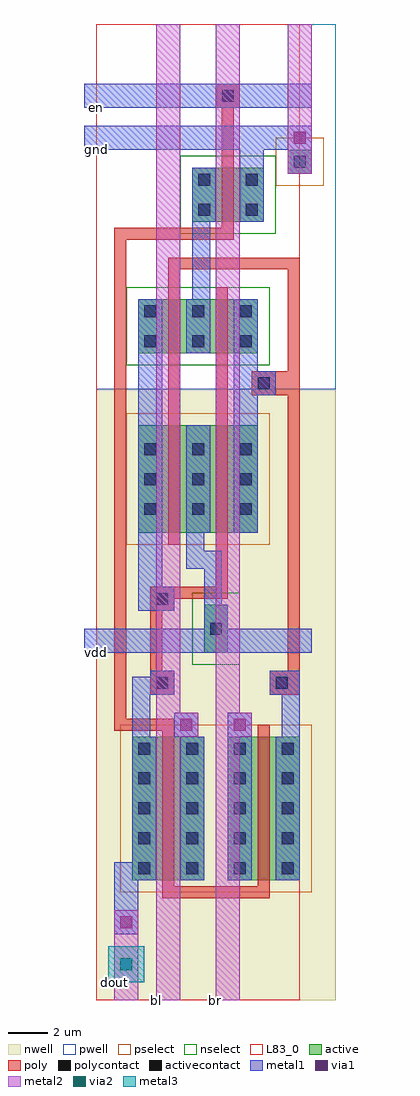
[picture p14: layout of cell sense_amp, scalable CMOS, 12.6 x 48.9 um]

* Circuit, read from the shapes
.subckt sense_amp bl br dout en gnd vdd
M1 n1 n2 dout gnd nfet w=2.7u l=0.6u
M2 n2 dout n1 gnd nfet w=2.7u l=0.6u
M3 gnd en n1 gnd nfet w=2.7u l=0.6u
M4 bl en dout vdd pfet w=7.2u l=0.6u
M5 vdd n2 dout vdd pfet w=5.4u l=0.6u
M6 n2 dout vdd vdd pfet w=5.4u l=0.6u
M7 n2 en br vdd pfet w=7.2u l=0.6u
.ends

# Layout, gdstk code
import gdstk
lib = gdstk.Library(unit=1e-6, precision=1e-09)
def R(c, l, rs):  # rectangles x0, y0, x1, y1
    for r in rs: c.add(gdstk.rectangle(r[:2], r[2:], *l))
def A(c, l, x, y, w, h, nx, ny, dx, dy):  # array of equal rectangles
    R(c, l, [(x+i*dx, y+j*dy, x+i*dx+w, y+j*dy+h) for i in range(nx) for j in range(ny)])
pwell = (41, 0)
nwell = (42, 0)
active = (43, 0)
pselect = (44, 0)
nselect = (45, 0)
poly = (46, 0)
polycontact = (47, 0)
activecontact = (48, 0)
metal1 = (49, 0)
via1 = (50, 0)
metal2 = (51, 0)
via2 = (61, 0)
metal3 = (62, 0)
L83_0 = (83, 0)

sense_amp = lib.new_cell('sense_amp')
R(sense_amp, pwell, [(0,30.6,12,48.9)])
R(sense_amp, nwell, [(0,0,12,30.6)])
R(sense_amp, active, [(1.8,6,5.4,13.2), (6.6,6,10.2,13.2), (5.4,17.4,6.6,19.8), (2.1,23.4,8.1,28.8), (2.1,32.4,8.1,35.1), (4.8,39,8.4,41.7), (9.6,41.4,10.8,42.6)])
R(sense_amp, pselect, [(1.2,5.4,10.8,13.8), (1.5,22.8,8.7,29.4), (9,40.8,11.4,43.2)])
R(sense_amp, nselect, [(4.8,16.8,7.2,20.4), (1.5,31.8,8.7,35.7), (4.2,38.4,9,42.3)])
R(sense_amp, poly, [(3.3,5.1,8.7,5.7), (3.3,5.7,3.9,13.5), (8.1,5.7,8.7,13.8), (0.9,13.5,3.9,14.1), (0.9,14.1,1.5,38.1), (2.7,15.3,3.9,16.5), (8.7,15.3,10.2,16.5), (2.7,16.5,3.3,19.5), (9.6,16.5,10.2,30.3), (2.7,19.5,3.9,20.1), (2.7,20.1,6.6,20.7), (6,20.7,6.6,35.7), (3.6,22.8,4.2,36.6), (7.8,30.3,10.2,31.5), (9.6,31.5,10.2,36.6), (3.6,36.6,10.2,37.2), (0.9,38.1,6.9,38.7), (6.3,38.7,6.9,44.7), (6,44.7,7.2,45.9)])
R(sense_amp, polycontact, [(3,15.6,3.6,16.2), (9,15.6,9.6,16.2), (3,19.8,3.6,20.4), (8.1,30.6,8.7,31.2), (6.3,45,6.9,45.6)])
A(sense_amp, activecontact, 2.1, 6.3, 0.6, 0.6, 4, 5, 2.4, 1.5)
A(sense_amp, activecontact, 2.4, 24.3, 0.6, 0.6, 3, 3, 2.4, 1.5)
A(sense_amp, activecontact, 2.4, 32.7, 0.6, 0.6, 3, 2, 2.4, 1.5)
R(sense_amp, activecontact, [(5.7,18.3,6.3,18.9), (5.1,39.3,5.7,39.9), (7.5,39.3,8.1,39.9), (5.1,40.8,5.7,41.4), (7.5,40.8,8.1,41.4), (9.9,41.7,10.5,42.3)])
R(sense_amp, metal1, [(0.9,3.3,2.1,6), (0.9,6,3,6.9), (4.2,6,5.4,13.2), (6.6,6,7.8,14.4), (9,6,10.2,13.2), (1.8,6.9,3,13.2), (1.8,13.2,2.7,15.3), (3.9,13.2,5.1,14.4), (9.3,13.2,10.2,15.3), (1.8,15.3,3.9,16.2), (8.7,15.3,10.2,16.5), (2.7,16.2,3.9,16.5), (-0.6,17.4,10.8,18.6), (-0.6,17.4,10.8,18.6), (5.4,18.6,6.6,19.8), (2.1,19.5,3.9,20.7), (5.4,19.8,6.3,21.6), (2.1,20.7,3.3,35.1), (4.5,21.6,6.3,22.5), (4.5,22.5,5.4,23.4), (4.5,23.4,5.7,28.8), (6.9,23.4,8.1,30.3), (6.9,30.3,9,31.5), (6.9,31.5,8.1,35.1), (4.5,32.4,5.7,35.1), (4.8,35.1,5.7,39), (4.8,39,6,41.7), (7.2,39,8.4,42.6), (9.6,41.4,10.8,42.6), (-0.6,42.6,10.8,43.8), (-0.6,42.6,10.8,43.8), (-0.6,44.7,10.8,45.9), (-0.6,44.7,10.8,45.9)])
R(sense_amp, via1, [(1.2,3.6,1.8,4.2), (4.2,13.5,4.8,14.1), (6.9,13.5,7.5,14.1), (9.9,42.9,10.5,43.5)])
R(sense_amp, metal2, [(0.9,0,2.1,4.5), (3,0,4.2,13.2), (3,0,4.2,13.2), (6,0,7.2,13.2), (6,0,7.2,13.2), (3,13.2,5.1,14.4), (6,13.2,7.8,14.4), (3,14.4,4.2,48.9), (6,14.4,7.2,48.9), (9.6,41.4,10.8,48.9)])
R(sense_amp, via2, [(1.2,1.5,1.8,2.1)])
R(sense_amp, metal3, [(0.6,0.9,2.4,2.7), (0.6,0.9,2.4,2.7)])
R(sense_amp, L83_0, [(0,0,10.2,48.9)])
sense_amp.add(gdstk.Label('vdd', (0,17.4), layer=49, texttype=0))
sense_amp.add(gdstk.Label('en', (0,44.7), layer=49, texttype=0))
sense_amp.add(gdstk.Label('gnd', (0,42.6), layer=49, texttype=0))
sense_amp.add(gdstk.Label('bl', (3,0), layer=51, texttype=0))
sense_amp.add(gdstk.Label('br', (6,0), layer=51, texttype=0))
sense_amp.add(gdstk.Label('dout', (0.9,0.9), layer=62, texttype=0))
sense_amp.add(gdstk.Label('en', (-0.6,44.7), layer=49, texttype=0))
sense_amp.add(gdstk.Label('dout', (0.6,0.9), layer=62, texttype=0))
sense_amp.add(gdstk.Label('br', (6,0), layer=51, texttype=0))
sense_amp.add(gdstk.Label('bl', (3,0), layer=51, texttype=0))
sense_amp.add(gdstk.Label('vdd', (-0.6,17.4), layer=49, texttype=0))
sense_amp.add(gdstk.Label('gnd', (-0.6,42.6), layer=49, texttype=0))

lib.write_gds('sense_amp.gds')
